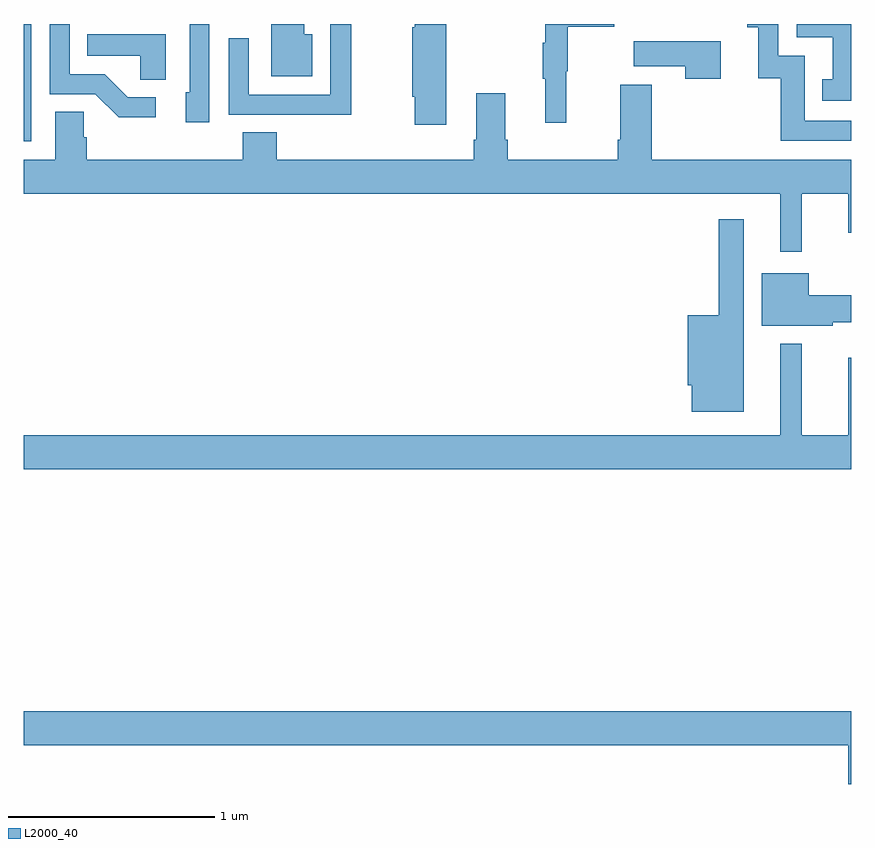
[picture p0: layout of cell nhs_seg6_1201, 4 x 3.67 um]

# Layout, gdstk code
import gdstk
lib = gdstk.Library(unit=1e-6, precision=1e-09)
def R(c, l, rs):  # rectangles x0, y0, x1, y1
    for r in rs: c.add(gdstk.rectangle(r[:2], r[2:], *l))
def P(c, l, *ps):  # polygons
    for p in ps: c.add(gdstk.Polygon(p, *l))
L2000_40 = (2000, 40)

nhs_seg6_1201 = lib.new_cell('nhs_seg6_1201')
R(nhs_seg6_1201, L2000_40, [(185,936.933,185.037,937.5)])
P(nhs_seg6_1201, L2000_40, [(189,937.032),(188.775,937.032),(188.775,937.347),(188.646,937.347),(188.646,937.5),(188.496,937.5),(188.496,937.485),(188.549,937.485),(188.549,937.239),(188.659,937.239),(188.659,936.936),(189,936.936)],
  [(187.042,937.5),(186.889,937.5),(186.889,937.485),(186.878,937.485),(186.878,937.149),(186.889,937.149),(186.889,937.014),(187.042,937.014)],
  [(186.584,937.5),(186.483,937.5),(186.483,937.158),(186.087,937.158),(186.087,937.432),(185.991,937.432),(185.991,937.062),(186.307,937.062),(186.307,937.061),(186.584,937.061)],
  [(185.638,937.146),(185.503,937.146),(185.392,937.257),(185.223,937.257),(185.223,937.5),(185.127,937.5),(185.127,937.161),(185.346,937.161),(185.459,937.049),(185.638,937.049)],
  [(186.394,937.45),(186.355,937.45),(186.355,937.5),(186.197,937.5),(186.197,937.247),(186.394,937.247)],
  [(185.898,937.5),(185.802,937.5),(185.802,937.17),(185.783,937.17),(185.783,937.026),(185.898,937.026)],
  [(189,937.5),(188.736,937.5),(188.736,937.437),(188.909,937.437),(188.909,937.233),(188.86,937.233),(188.86,937.128),(189,937.128)],
  [(187.622,937.272),(187.63,937.272),(187.63,937.486),(187.853,937.486),(187.853,937.5),(187.52,937.5),(187.52,937.409),(187.509,937.409),(187.509,937.235),(187.52,937.235),(187.52,937.023),(187.622,937.023)],
  [(185.686,937.45),(185.308,937.45),(185.308,937.346),(185.565,937.346),(185.565,937.231),(185.686,937.231)],
  [(188.368,937.417),(187.949,937.417),(187.949,937.295),(188.198,937.295),(188.198,937.236),(188.368,937.236)],
  [(188.761,936.68),(188.984,936.68),(188.984,936.492),(189,936.492),(189,936.844),(188.036,936.844),(188.036,937.207),(187.883,937.207),(187.883,936.94),(187.871,936.94),(187.871,936.844),(187.34,936.844),(187.34,936.94),(187.327,936.94),(187.327,937.165),(187.187,937.165),(187.187,936.94),(187.175,936.94),(187.175,936.844),(186.224,936.844),(186.224,936.977),(186.059,936.977),(186.059,936.844),(185.306,936.844),(185.306,936.953),(185.292,936.953),(185.292,937.076),(185.153,937.076),(185.153,936.844),(185,936.844),(185,936.68),(188.657,936.68),(188.657,936.399),(188.761,936.399)],
  [(188.479,936.556),(188.358,936.556),(188.358,936.094),(188.21,936.094),(188.21,935.754),(188.228,935.754),(188.228,935.627),(188.479,935.627)],
  [(188.91,936.059),(189,936.059),(189,936.189),(188.794,936.189),(188.794,936.295),(188.567,936.295),(188.567,936.041),(188.91,936.041)],
  [(189,935.887),(188.984,935.887),(188.984,935.512),(188.761,935.512),(188.761,935.956),(188.657,935.956),(188.657,935.512),(185,935.512),(185,935.348),(189,935.348)],
  [(189,934.18),(185,934.18),(185,934.016),(188.984,934.016),(188.984,933.828),(189,933.828)])

lib.write_gds('nhs_seg6_1201.gds')
